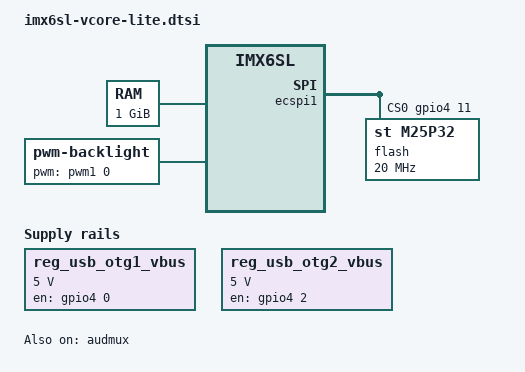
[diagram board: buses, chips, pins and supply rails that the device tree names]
/*
 * Copyright (C) 2014 Freescale Semiconductor, Inc.
 *
 * This program is free software; you can redistribute it and/or modify
 * it under the terms of the GNU General Public License version 2 as
 * published by the Free Software Foundation.
 */

/ {
	memory {
		reg = <0x80000000 0x40000000>;
	};

	regulators {
		compatible = "simple-bus";

		reg_usb_otg1_vbus: usb_otg1_vbus {
			compatible = "regulator-fixed";
			regulator-name = "usb_otg1_vbus";
			regulator-min-microvolt = <5000000>;
			regulator-max-microvolt = <5000000>;
			gpio = <&gpio4 0 0>;
			enable-active-high;
		};

		reg_usb_otg2_vbus: usb_otg2_vbus {
			compatible = "regulator-fixed";
			regulator-name = "usb_otg2_vbus";
			regulator-min-microvolt = <5000000>;
			regulator-max-microvolt = <5000000>;
			gpio = <&gpio4 2 0>;
			enable-active-high;
		};
	};

	pwm-backlight {
		compatible = "pwm-backlight";
		pwms = <&pwm1 0 5000000>;
		brightness-levels = <0 4 8 16 32 64 128 255>;
		default-brightness-level = <7>;
	};

	ramoops_device {
		compatible = "fsl,mxc_ramoops";
		record_size = <524288>; /*512K*/
		console_size= <262144>; /*256K*/
		ftrace_size= <262144>;  /*256K*/
		dump_oops = <1>;
		status = "okay";
	};
};

&audmux {
	pinctrl-names = "default";
	pinctrl-0 = <&pinctrl_audmux_1>;
	status = "okay";
};

&csi1 {
	status = "disabled";
};

&ecspi1 {
	fsl,spi-num-chipselects = <1>;
	cs-gpios = <&gpio4 11 0>;
	pinctrl-names = "default";
	pinctrl-0 = <&pinctrl_ecspi1_1>;
	status = "okay";

	flash: m25p80@0 {
		#address-cells = <1>;
		#size-cells = <1>;
		compatible = "st,m25p32";
		spi-max-frequency = <20000000>;
		reg = <0>;
	};
};

&gpc {
	fsl,cpu_pupscr_sw2iso = <0xf>;
	fsl,cpu_pupscr_sw = <0xf>;
	fsl,cpu_pdnscr_iso2sw = <0x1>;
	fsl,cpu_pdnscr_iso = <0x1>;
	fsl,ldo-bypass = <1>; /* use ldo-bypass, u-boot will check it and configure */
	fsl,wdog-reset = <1>; /* watchdog select of reset source */
	pu-supply = <&pu_dummy>; /* ldo-bypass:use pu_dummy if VDDSOC share with VDDPU */
};

&gpu {
	pu-supply = <&pu_dummy>; /* ldo-bypass:use pu_dummy if VDDSOC share with VDDPU */
};

